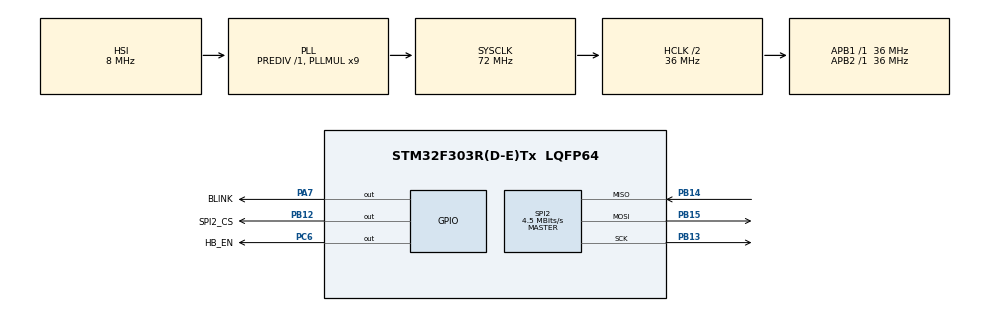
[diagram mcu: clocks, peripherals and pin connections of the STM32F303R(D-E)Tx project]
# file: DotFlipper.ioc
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Mcu.Family=STM32F3
Mcu.Name=STM32F303R(D-E)Tx
Mcu.Package=LQFP64
NVIC.PriorityGroup=NVIC_PRIORITYGROUP_4
NVIC.SPI2_IRQn=true\:0\:0\:false\:false\:true\:true\:true\:true
PA7.GPIO_Label=BLINK
PA7.Signal=GPIO_Output
PB12.GPIO_Label=SPI2_CS
PB12.GPIO_Speed=GPIO_SPEED_FREQ_HIGH
PB12.Signal=GPIO_Output
PB13.Mode=Full_Duplex_Master
PB13.Signal=SPI2_SCK
PB14.Mode=Full_Duplex_Master
PB14.Signal=SPI2_MISO
PB15.Mode=Full_Duplex_Master
PB15.Signal=SPI2_MOSI
PC6.GPIO_Label=HB_EN
PC6.Signal=GPIO_Output
PF0-OSC_IN.Mode=HSE-External-Oscillator
PF0-OSC_IN.Signal=RCC_OSC_IN
PF1-OSC_OUT.Mode=HSE-External-Oscillator
PF1-OSC_OUT.Signal=RCC_OSC_OUT
ProjectManager.HeapSize=0x200
ProjectManager.StackSize=0x400
ProjectManager.TargetToolchain=STM32CubeIDE
RCC.AHBCLKDivider=RCC_SYSCLK_DIV2
RCC.AHBFreq_Value=36000000
RCC.APB1Freq_Value=36000000
RCC.APB1TimFreq_Value=36000000
RCC.APB2Freq_Value=36000000
RCC.APB2TimFreq_Value=36000000
RCC.CortexFreq_Value=36000000
RCC.HCLKFreq_Value=36000000
RCC.HSE_VALUE=16000000
RCC.HSI_VALUE=8000000
RCC.LSE_VALUE=32768
RCC.PLLMUL=RCC_PLL_MUL9
RCC.SYSCLKFreq_VALUE=72000000
RCC.SYSCLKSourceVirtual=RCC_SYSCLKSOURCE_PLLCLK
RCC.USBFreq_Value=72000000
SPI2.BaudRatePrescaler=SPI_BAUDRATEPRESCALER_8
SPI2.CLKPhase=SPI_PHASE_2EDGE
SPI2.CalculateBaudRate=4.5 MBits/s
SPI2.DataSize=SPI_DATASIZE_16BIT
SPI2.Direction=SPI_DIRECTION_2LINES
SPI2.FirstBit=SPI_FIRSTBIT_LSB
SPI2.Mode=SPI_MODE_MASTER
SPI2.VirtualType=VM_MASTER
board=custom

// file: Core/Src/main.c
/* USER CODE BEGIN Header */
/**
  ******************************************************************************
  * @file           : main.c
  * @brief          : Main program body
  ******************************************************************************
  * @attention
  *
  * Copyright (c) 2021 STMicroelectronics.
  * All rights reserved.
  *
  * This software is licensed under terms that can be found in the LICENSE file
  * in the root directory of this software component.
  * If no LICENSE file comes with this software, it is provided AS-IS.
  *
  ******************************************************************************
  */
/* USER CODE END Header */
#include "main.h"
#include "spi.h"
#include "gpio.h"

/* USER CODE BEGIN Includes */
#include "TLE94112ES.h"
#include "DISPLAY.h"
/* USER CODE END Includes */

/* USER CODE BEGIN PD */
#define NO_OF_CHIPS	1
#define PULSELENGTH 1000
#define BUFFERLENGHT 12
#define DAISYCHAINLENGHT 5
/* USER CODE END PD */

/* USER CODE BEGIN PV */
int pause = 2000 - PULSELENGTH;
	//uint8_t TXBuf[NO_OF_CHIPS * 2];
	//uint8_t RXBuf[NO_OF_CHIPS * 2];
	//Message Messages[NO_OF_CHIPS];

	//uint8_t controllerData = 0;

///////////////////////////////////
	Display 	display;
	Matrix 		matrix;
	uint32_t 	framebuf1[BUFFERLENGHT];
	uint32_t 	framebuf2[BUFFERLENGHT];
	uint32_t 	difbuf[BUFFERLENGHT];
	Message		messages[DAISYCHAINLENGHT];

/* USER CODE END PV */

void SystemClock_Config(void);

int main(void)
{

  /* MCU Configuration--------------------------------------------------------*/

  /* Reset of all peripherals, Initializes the Flash interface and the Systick. */
  HAL_Init();

  /* Configure the system clock */
  SystemClock_Config();

  /* Initialize all configured peripherals */
  MX_GPIO_Init();
  MX_SPI2_Init();
  /* USER CODE BEGIN 2 */
  HAL_GPIO_WritePin(HB_EN_GPIO_Port, HB_EN_Pin, 1);

  matrix.width = 3;
  matrix.height = 2;
  matrix.DaisyChainLength = DAISYCHAINLENGHT;
  matrix.Messages = messages;

  display.width = 30;
  display.height = 12;
  display.Frontbuffer = framebuf1;
  display.Backbuffer = framebuf2;
  display.Differencebuffer = difbuf;
  display.Matrix = matrix;

  /* USER CODE END 2 */

  /* Infinite loop */
  /* USER CODE BEGIN WHILE */
  while (1)
  {
	  /*
	  	  Messages[0].RegisterAdress 	= HB_ACT_3_CTRL;
	  	  Messages[0].Data 				= HB10_HS_EN | HB11_LS_EN;
	  	  Messages[0].WriteClear 		= WRITE;

	  	  TLE94112ES_ConstructTXBuffer(TXBuf, NO_OF_CHIPS, Messages);
	  	  HAL_GPIO_WritePin(SPI2_CS_GPIO_Port, SPI2_CS_Pin, 0);
	  	  HAL_SPI_TransmitReceive(&hspi2, TXBuf, RXBuf, NO_OF_CHIPS * 2, HAL_MAX_DELAY);
	  	  HAL_GPIO_WritePin(SPI2_CS_GPIO_Port, SPI2_CS_Pin, 1);
	  	  TLE94112ES_DeconstructRXBuffer(RXBuf, NO_OF_CHIPS, Messages);

	  	  HAL_Delay(PULSELENGTH);

	  	  Messages[0].RegisterAdress 	= HB_ACT_3_CTRL;
	  	  Messages[0].Data 				= 0x00;
	  	  Messages[0].WriteClear 		= WRITE;

	  	  TLE94112ES_ConstructTXBuffer(TXBuf, NO_OF_CHIPS, Messages);
	  	  HAL_GPIO_WritePin(SPI2_CS_GPIO_Port, SPI2_CS_Pin, 0);
	  	  HAL_SPI_TransmitReceive(&hspi2, TXBuf, RXBuf, NO_OF_CHIPS * 2, HAL_MAX_DELAY);
	  	  HAL_GPIO_WritePin(SPI2_CS_GPIO_Port, SPI2_CS_Pin, 1);
	  	  TLE94112ES_DeconstructRXBuffer(RXBuf, NO_OF_CHIPS, Messages);

	  	  HAL_Delay(pause);

	  	  Messages[0].RegisterAdress 	= HB_ACT_3_CTRL;
	  	  Messages[0].Data 				= HB10_LS_EN | HB12_HS_EN;
	  	  Messages[0].WriteClear 		= WRITE;

	  	  TLE94112ES_ConstructTXBuffer(TXBuf, NO_OF_CHIPS, Messages);
	  	  HAL_GPIO_WritePin(SPI2_CS_GPIO_Port, SPI2_CS_Pin, 0);
	  	  HAL_SPI_TransmitReceive(&hspi2, TXBuf, RXBuf, NO_OF_CHIPS * 2, HAL_MAX_DELAY);
	  	  HAL_GPIO_WritePin(SPI2_CS_GPIO_Port, SPI2_CS_Pin, 1);
	  	  TLE94112ES_DeconstructRXBuffer(RXBuf, NO_OF_CHIPS, Messages);

	  	  HAL_Delay(PULSELENGTH);

	  	  Messages[0].RegisterAdress 	= HB_ACT_3_CTRL;
	  	  Messages[0].Data 				= 0x00;
	  	  Messages[0].WriteClear 		= WRITE;

	  	  TLE94112ES_ConstructTXBuffer(TXBuf, NO_OF_CHIPS, Messages);
	  	  HAL_GPIO_WritePin(SPI2_CS_GPIO_Port, SPI2_CS_Pin, 0);
	  	  HAL_SPI_TransmitReceive(&hspi2, TXBuf, RXBuf, NO_OF_CHIPS * 2, HAL_MAX_DELAY);
	  	  HAL_GPIO_WritePin(SPI2_CS_GPIO_Port, SPI2_CS_Pin, 1);
	  	  TLE94112ES_DeconstructRXBuffer(RXBuf, NO_OF_CHIPS, Messages);

	  	  HAL_Delay(pause);
	  	  */
    /* USER CODE END WHILE */

  }
}

void SystemClock_Config(void)
{
  RCC_OscInitTypeDef RCC_OscInitStruct = {0};
  RCC_ClkInitTypeDef RCC_ClkInitStruct = {0};

  /** Initializes the RCC Oscillators according to the specified parameters
  * in the RCC_OscInitTypeDef structure.
  */
  RCC_OscInitStruct.OscillatorType = RCC_OSCILLATORTYPE_HSI;
  RCC_OscInitStruct.HSIState = RCC_HSI_ON;
  RCC_OscInitStruct.HSICalibrationValue = RCC_HSICALIBRATION_DEFAULT;
  RCC_OscInitStruct.PLL.PLLState = RCC_PLL_ON;
  RCC_OscInitStruct.PLL.PLLSource = RCC_PLLSOURCE_HSI;
  RCC_OscInitStruct.PLL.PLLMUL = RCC_PLL_MUL9;
  RCC_OscInitStruct.PLL.PREDIV = RCC_PREDIV_DIV1;
  if (HAL_RCC_OscConfig(&RCC_OscInitStruct) != HAL_OK)
  {
    Error_Handler();
  }

  /** Initializes the CPU, AHB and APB buses clocks
  */
  RCC_ClkInitStruct.ClockType = RCC_CLOCKTYPE_HCLK|RCC_CLOCKTYPE_SYSCLK
                              |RCC_CLOCKTYPE_PCLK1|RCC_CLOCKTYPE_PCLK2;
  RCC_ClkInitStruct.SYSCLKSource = RCC_SYSCLKSOURCE_PLLCLK;
  RCC_ClkInitStruct.AHBCLKDivider = RCC_SYSCLK_DIV2;
  RCC_ClkInitStruct.APB1CLKDivider = RCC_HCLK_DIV1;
  RCC_ClkInitStruct.APB2CLKDivider = RCC_HCLK_DIV1;

  if (HAL_RCC_ClockConfig(&RCC_ClkInitStruct, FLASH_LATENCY_1) != HAL_OK)
  {
    Error_Handler();
  }
}

void Error_Handler(void)
{
  __disable_irq();
  while (1)
  {
  }
}
